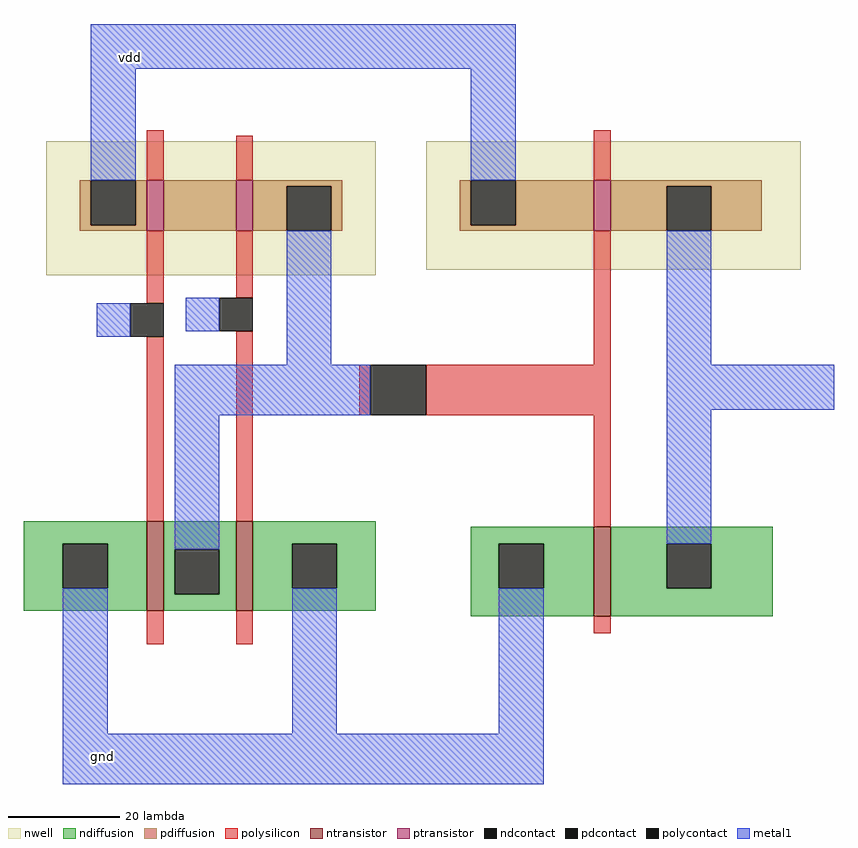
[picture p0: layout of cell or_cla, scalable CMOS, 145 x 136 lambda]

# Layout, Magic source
magic
tech scmos
<< nwell >>
rect -27 6 32 30
rect 41 7 108 30
<< polysilicon >>
rect -9 23 -6 32
rect 7 23 10 31
rect 71 23 74 32
rect -9 1 -6 14
rect 7 2 10 14
rect -9 -38 -6 -5
rect 7 -38 10 -4
rect 71 -10 74 14
rect 29 -19 31 -10
rect 41 -19 74 -10
rect 71 -39 74 -19
rect -9 -60 -6 -54
rect 7 -60 10 -54
rect 71 -58 74 -55
<< ndiffusion >>
rect -31 -42 -9 -38
rect -31 -50 -24 -42
rect -16 -50 -9 -42
rect -31 -54 -9 -50
rect -6 -43 7 -38
rect -6 -51 -4 -43
rect 4 -51 7 -43
rect -6 -54 7 -51
rect 10 -42 32 -38
rect 10 -50 17 -42
rect 25 -50 32 -42
rect 10 -54 32 -50
rect 49 -42 71 -39
rect 49 -50 54 -42
rect 62 -50 71 -42
rect 49 -55 71 -50
rect 74 -42 103 -39
rect 74 -50 84 -42
rect 92 -50 103 -42
rect 74 -55 103 -50
<< pdiffusion >>
rect -21 15 -19 23
rect -11 15 -9 23
rect -21 14 -9 15
rect -6 14 7 23
rect 10 22 26 23
rect 10 14 16 22
rect 24 14 26 22
rect 47 15 49 23
rect 57 15 71 23
rect 47 14 71 15
rect 74 22 101 23
rect 74 14 84 22
rect 92 14 101 22
<< metal1 >>
rect -19 43 57 51
rect -19 23 -11 43
rect 49 23 57 43
rect -18 -5 -12 1
rect -2 -4 4 2
rect 16 -10 24 14
rect 84 -10 92 14
rect -4 -19 31 -10
rect 84 -18 114 -10
rect -24 -76 -16 -50
rect -4 -43 4 -19
rect 84 -42 92 -18
rect 17 -76 25 -50
rect 54 -76 62 -50
rect -24 -85 62 -76
<< ntransistor >>
rect -9 -54 -6 -38
rect 7 -54 10 -38
rect 71 -55 74 -39
<< ptransistor >>
rect -9 14 -6 23
rect 7 14 10 23
rect 71 14 74 23
<< polycontact >>
rect -12 -5 -6 1
rect 4 -4 10 2
rect 31 -19 41 -10
<< ndcontact >>
rect -24 -50 -16 -42
rect -4 -51 4 -43
rect 17 -50 25 -42
rect 54 -50 62 -42
rect 84 -50 92 -42
<< pdcontact >>
rect -19 15 -11 23
rect 16 14 24 22
rect 49 15 57 23
rect 84 14 92 22
<< labels >>
rlabel metal1 -12 45 -12 45 1 vdd
rlabel metal1 -17 -80 -17 -80 1 gnd
<< end >>
